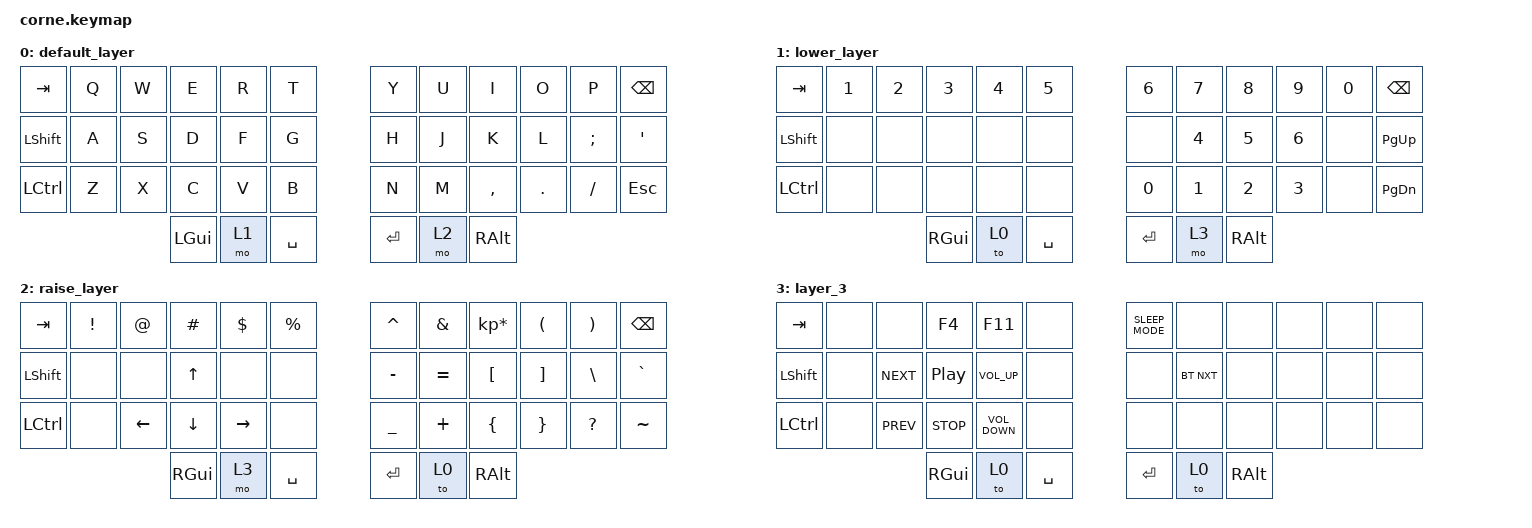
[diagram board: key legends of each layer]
/*
 * Copyright (c) 2020 The ZMK Contributors
 *
 * SPDX-License-Identifier: MIT
 */

#include <behaviors.dtsi>
#include <dt-bindings/zmk/bt.h>
#include <dt-bindings/zmk/keys.h>

/ {
    keymap {
        compatible = "zmk,keymap";

        default_layer {
            // -----------------------------------------------------------------------------------------
            // |  TAB |  Q  |  W  |  E  |  R  |  T  |   |  Y  |  U   |  I  |  O  |  P  | BKSP |
            // | CTRL |  A  |  S  |  D  |  F  |  G  |   |  H  |  J   |  K  |  L  |  ;  |  '   |
            // | SHFT |  Z  |  X  |  C  |  V  |  B  |   |  N  |  M   |  ,  |  .  |  /  | ESC  |
            //                    | GUI | LWR | SPC |   | ENT | RSE  | ALT |

            bindings = <
&kp TAB     &kp Q  &kp W  &kp E     &kp R  &kp T        &kp Y    &kp U  &kp I      &kp O    &kp P     &kp BSPC
&kp LSHIFT  &kp A  &kp S  &kp D     &kp F  &kp G        &kp H    &kp J  &kp K      &kp L    &kp SEMI  &kp SQT
&kp LCTRL   &kp Z  &kp X  &kp C     &kp V  &kp B        &kp N    &kp M  &kp COMMA  &kp DOT  &kp FSLH  &kp ESC
                          &kp LGUI  &mo 1  &kp SPACE    &kp RET  &mo 2  &kp RALT
            >;
        };

        lower_layer {
            // -----------------------------------------------------------------------------------------
            // |  TAB |  1  |  2  |  3  |  4  |  5  |   |  6  |  7  |  8  |  9  |  0  | BKSP |
            // | BTCLR| BT1 | BT2 | BT3 | BT4 | BT5 |   | LFT | DWN |  UP | RGT |     |      |
            // | SHFT |     |     |     |     |     |   |     |     |     |     |     |      |
            //                    | GUI |     | SPC |   | ENT |     | ALT |

            bindings = <
&kp TAB     &kp N1  &kp N2  &kp N3    &kp N4  &kp N5       &kp N6   &kp N7  &kp N8    &kp N9  &kp N0  &kp BSPC
&kp LSHIFT  &none   &none   &none     &none   &none        &none    &kp N4  &kp N5    &kp N6  &none   &kp PG_UP
&kp LCTRL   &none   &none   &none     &none   &none        &kp N0   &kp N1  &kp N2    &kp N3  &none   &kp PG_DN
                            &kp RGUI  &to 0   &kp SPACE    &kp RET  &mo 3   &kp RALT
            >;
        };

        raise_layer {
            // -----------------------------------------------------------------------------------------
            // |  TAB |  !  |  @  |  #  |  $  |  %  |   |  ^  |  &  |  *  |  (  |  )  | BKSP |
            // | CTRL |     |     |     |     |     |   |  -  |  =  |  [  |  ]  |  \  |  `   |
            // | SHFT |     |     |     |     |     |   |  _  |  +  |  {  |  }  | "|" |  ~   |
            //                    | GUI |     | SPC |   | ENT |     | ALT |

            bindings = <
&kp TAB    &kp EXCL  &kp AT    &kp HASH  &kp DLLR   &kp PRCNT    &kp CARET  &kp AMPS   &kp KP_MULTIPLY  &kp LPAR  &kp RPAR      &kp BSPC
&kp LSHFT  &none     &none     &kp UP    &none      &none        &kp MINUS  &kp EQUAL  &kp LBKT         &kp RBKT  &kp BSLH      &kp GRAVE
&kp LCTRL  &none     &kp LEFT  &kp DOWN  &kp RIGHT  &none        &kp UNDER  &kp PLUS   &kp LBRC         &kp RBRC  &kp QUESTION  &kp TILDE
                               &kp RGUI  &mo 3      &kp SPACE    &kp RET    &to 0      &kp RALT
            >;
        };

        layer_3 {
            bindings = <
&kp TAB    &none  &none       &kp F4            &kp F11            &none        &kp C_SLEEP_MODE  &none       &none     &none  &none  &none
&kp LSHFT  &none  &kp C_NEXT  &kp C_PLAY_PAUSE  &kp C_VOLUME_UP    &none        &none             &bt BT_NXT  &none     &none  &none  &none
&kp LCTRL  &none  &kp C_PREV  &kp C_STOP        &kp C_VOLUME_DOWN  &none        &none             &none       &none     &none  &none  &none
                              &kp RGUI          &to 0              &kp SPACE    &kp RET           &to 0       &kp RALT
            >;
        };
    };
};
